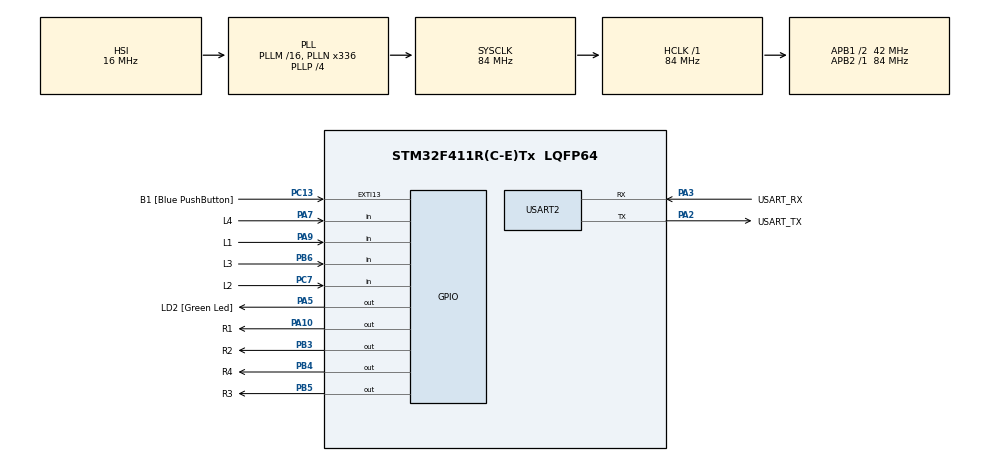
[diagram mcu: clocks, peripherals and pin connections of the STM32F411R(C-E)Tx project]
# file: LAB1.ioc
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Mcu.Family=STM32F4
Mcu.Name=STM32F411R(C-E)Tx
Mcu.Package=LQFP64
NVIC.PriorityGroup=NVIC_PRIORITYGROUP_0
PA10.GPIO_Label=R1
PA10.GPIO_ModeDefaultOutputPP=GPIO_MODE_OUTPUT_OD
PA10.GPIO_PuPd=GPIO_NOPULL
PA10.PinState=GPIO_PIN_SET
PA10.Signal=GPIO_Output
PA13.GPIO_Label=TMS
PA13.Mode=Serial_Wire
PA13.Signal=SYS_JTMS-SWDIO
PA14.GPIO_Label=TCK
PA14.Mode=Serial_Wire
PA14.Signal=SYS_JTCK-SWCLK
PA2.GPIO_Label=USART_TX
PA2.Mode=Asynchronous
PA2.Signal=USART2_TX
PA3.GPIO_Label=USART_RX
PA3.Mode=Asynchronous
PA3.Signal=USART2_RX
PA5.GPIO_Label=LD2 [Green Led]
PA5.GPIO_ModeDefaultOutputPP=GPIO_MODE_OUTPUT_PP
PA5.GPIO_PuPd=GPIO_NOPULL
PA5.Signal=GPIO_Output
PA7.GPIO_Label=L4
PA7.GPIO_PuPd=GPIO_PULLUP
PA7.Signal=GPIO_Input
PA9.GPIO_Label=L1
PA9.GPIO_PuPd=GPIO_PULLUP
PA9.Signal=GPIO_Input
PB3.GPIO_Label=R2
PB3.GPIO_ModeDefaultOutputPP=GPIO_MODE_OUTPUT_OD
PB3.GPIO_PuPd=GPIO_NOPULL
PB3.PinState=GPIO_PIN_SET
PB3.Signal=GPIO_Output
PB4.GPIO_Label=R4
PB4.GPIO_ModeDefaultOutputPP=GPIO_MODE_OUTPUT_OD
PB4.GPIO_PuPd=GPIO_NOPULL
PB4.PinState=GPIO_PIN_SET
PB4.Signal=GPIO_Output
PB5.GPIO_Label=R3
PB5.GPIO_ModeDefaultOutputPP=GPIO_MODE_OUTPUT_OD
PB5.GPIO_PuPd=GPIO_NOPULL
PB5.PinState=GPIO_PIN_SET
PB5.Signal=GPIO_Output
PB6.GPIO_Label=L3
PB6.GPIO_PuPd=GPIO_PULLUP
PB6.Signal=GPIO_Input
PC13-ANTI_TAMP.GPIO_Label=B1 [Blue PushButton]
PC13-ANTI_TAMP.GPIO_ModeDefaultEXTI=GPIO_MODE_IT_FALLING
PC13-ANTI_TAMP.Signal=GPXTI13
PC14-OSC32_IN.Mode=LSE-External-Oscillator
PC14-OSC32_IN.Signal=RCC_OSC32_IN
PC15-OSC32_OUT.Mode=LSE-External-Oscillator
PC15-OSC32_OUT.Signal=RCC_OSC32_OUT
PC7.GPIO_Label=L2
PC7.GPIO_PuPd=GPIO_PULLUP
PC7.Signal=GPIO_Input
PH0\ -\ OSC_IN.Mode=HSE-External-Clock-Source
PH0\ -\ OSC_IN.Signal=RCC_OSC_IN
PH1\ -\ OSC_OUT.Mode=HSE-External-Clock-Source
PH1\ -\ OSC_OUT.Signal=RCC_OSC_OUT
ProjectManager.HeapSize=0x200
ProjectManager.StackSize=0x400
ProjectManager.TargetToolchain=STM32CubeIDE
RCC.48MHZClocksFreq_Value=84000000
RCC.AHBFreq_Value=84000000
RCC.APB1CLKDivider=RCC_HCLK_DIV2
RCC.APB1Freq_Value=42000000
RCC.APB1TimFreq_Value=84000000
RCC.APB2Freq_Value=84000000
RCC.APB2TimFreq_Value=84000000
RCC.CortexFreq_Value=84000000
RCC.FLatency-AdvancedSettings=FLASH_LATENCY_2
RCC.HCLKFreq_Value=84000000
RCC.HSE_VALUE=8000000
RCC.HSI_VALUE=16000000
RCC.PLLN=336
RCC.PLLP=RCC_PLLP_DIV4
RCC.SYSCLKFreq_VALUE=84000000
RCC.SYSCLKSource=RCC_SYSCLKSOURCE_PLLCLK
RCC.VCOOutputFreq_Value=336000000
USART2.VirtualMode=VM_ASYNC
board=NUCLEO-F411RE

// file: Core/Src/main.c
/* USER CODE BEGIN Header */
/**
  ******************************************************************************
  * @file           : main.c
  * @brief          : Main program body
  ******************************************************************************
  * @attention
  *
  * Copyright (c) 2023 STMicroelectronics.
  * All rights reserved.
  *
  * This software is licensed under terms that can be found in the LICENSE file
  * in the root directory of this software component.
  * If no LICENSE file comes with this software, it is provided AS-IS.
  *
  ******************************************************************************
  */
/* USER CODE END Header */
#include "main.h"

/* USER CODE BEGIN Includes */
//จินตนา
/* USER CODE END Includes */

UART_HandleTypeDef huart2;

/* USER CODE BEGIN PV */

//create structure of Portpin , Typedef it to type name PortPin
typedef struct _PortPin
{
	GPIO_TypeDef* PORT;
	uint16_t PIN;
}PortPin;

//declare Portpin R,L
PortPin R[4] = { { GPIOA, GPIO_PIN_10 }, { GPIOB, GPIO_PIN_3 }, { GPIOB,
GPIO_PIN_5 }, { GPIOB, GPIO_PIN_4 } };

PortPin L[4] = { { GPIOA, GPIO_PIN_9 }, { GPIOC, GPIO_PIN_7 }, { GPIOB,
GPIO_PIN_6 }, { GPIOA, GPIO_PIN_7 } };

//for button Contenter
uint16_t ButtonMatrix = 0;
uint16_t LastButtonMatrix = 0;
int state , laststate;
int Numpad = 0;
int check;
int i;
/* USER CODE END PV */

void SystemClock_Config(void);
static void MX_GPIO_Init(void);
static void MX_USART2_UART_Init(void);
/* USER CODE BEGIN PFP */
void ReadMatrixButton_1Row();
/* USER CODE END PFP */

int main(void)
{

  /* MCU Configuration--------------------------------------------------------*/

  /* Reset of all peripherals, Initializes the Flash interface and the Systick. */
  HAL_Init();

  /* Configure the system clock */
  SystemClock_Config();

  /* Initialize all configured peripherals */
  MX_GPIO_Init();
  MX_USART2_UART_Init();

  /* Infinite loop */
  while (1)
  {

    /* USER CODE BEGIN 3 */

	  //call function every 10 ms == 100hz
	  static uint32_t timestamp = 0;
	  if(HAL_GetTick()>= timestamp)
	  {
		  timestamp = HAL_GetTick()+50;
		  ReadMatrixButton_1Row();

			if (ButtonMatrix > LastButtonMatrix)
			{check = 1;}
			else
			{check = 0;}
			LastButtonMatrix = ButtonMatrix;

			switch (state) {
			case 0:
				laststate = state;
				if (check == 1) {
					if (ButtonMatrix == 512) {
						state = 1;
					} else if (ButtonMatrix == 8192) {
						state = 0;
					} else if (ButtonMatrix == 4096) {
						state = 0;
					}

					else {
						state = 13;
					}
				}
				break;

			case 1:
				laststate = state;
				if (check == 1) {
					if (ButtonMatrix == 2) {
						state = 2;
					} else if (ButtonMatrix == 8192) {
						state = 0;
					} else {
						state = 13;
					}
				}
				break;

			case 2:
				laststate = state;
				if (check == 1) {
					if (ButtonMatrix == 256) {
						state = 3;
					} else if (ButtonMatrix == 8192) {
						state = 1;
					} else {
						state = 13;
					}
				}
				break;

			case 3:
				laststate = state;
				if (check == 1) {
					if (ButtonMatrix == 2) {
						state = 4;
					} else if (ButtonMatrix == 8192) {
						state = 2;
					} else {
						state = 13;
					}
				}
				break;

			case 4:
				laststate = state;
				if (check == 1) {
					if (ButtonMatrix == 8) {
						state = 5;
					} else if (ButtonMatrix == 8192) {
						state = 3;
					} else {
						state = 13;
					}
				}
				break;

			case 5:
				laststate = state;
				if (check == 1) {
					if (ButtonMatrix == 32) {
						state = 6;
					} else if (ButtonMatrix == 8192) {
						state = 4;
					} else {
						state = 13;
					}
				}
				break;

			case 6:
				laststate = state;
				if (check == 1) {
					if (ButtonMatrix == 8) {
						state = 7;
					} else if (ButtonMatrix == 8192) {
						state = 5;
					} else {
						state = 13;
					}
				}
				break;

			case 7:
				laststate = state;
				if (check == 1) {
					if (ButtonMatrix == 8) {
						state = 8;
					} else if (ButtonMatrix == 8192) {
						state = 6;
					} else {
						state = 13;
					}
				}
				break;

			case 8:
				laststate = state;
				if (check == 1) {
					if (ButtonMatrix == 8) {
						state = 9;
					} else if (ButtonMatrix == 8192) {
						state = 7;
					} else {
						state = 13;
					}
				}
				break;

			case 9:
				laststate = state;
				if (check == 1) {
					if (ButtonMatrix == 8) {
						state = 10;
					} else if (ButtonMatrix == 8192) {
						state = 8;
					} else {
						state = 13;
					}
				}
				break;

			case 10:
				laststate = state;
				if (check == 1) {
					if (ButtonMatrix == 64) {
						state = 11;
					} else if (ButtonMatrix == 8192) {
						state = 9;
					} else {
						state = 13;
					}
				}
				break;

			case 11:
				laststate = state;
				if (check == 1) {
					if (ButtonMatrix == 32768) {
						state = 12;
					} else if (ButtonMatrix == 8192) {
						state = 10;
					} else {
						state = 13;
					}
				}
				break;

			case 12: //ไฟติด
				laststate = state;
				//send logic form button1 to LD2
				HAL_GPIO_WritePin(GPIOA, GPIO_PIN_5, 1);
				if (check == 1) {
					if (ButtonMatrix == 4096) {
						HAL_GPIO_WritePin(GPIOA, GPIO_PIN_5, 0);
						state = 0;
					}
				}
				break;

			case 13: //กดผิด
				if (check == 1) {
					if (ButtonMatrix == 4096) {
						state = 0;
					} else if (ButtonMatrix == 8192) {
						if (i == 0) {
							state = laststate;
						} else {
							i = i - 1;
						}
					} else {
						i++;
					}
				}
				break;

			}
		}

	  switch(ButtonMatrix)
	  {
		case 1:
			Numpad = 1;
			break;
		case 16:
			Numpad = 2;
			break;
		case 256:
			Numpad = 3;
			break;

		case 2:
			Numpad = 4;
			break;
		case 32:
			Numpad = 5;
			break;
		case 512:
			Numpad = 6;
			break;

		case 4:
			Numpad = 7;
			break;
		case 64:
			Numpad = 8;
			break;
		case 1024:
			Numpad = 9;
			break;

		case 8:
			Numpad = 0;
			break;
		case 4096:
			Numpad = 11;
			break;
		case 32768:
			Numpad = 12;
			break;
	  }

  /* USER CODE END 3 */
}
}

void SystemClock_Config(void)
{
  RCC_OscInitTypeDef RCC_OscInitStruct = {0};
  RCC_ClkInitTypeDef RCC_ClkInitStruct = {0};

  /** Configure the main internal regulator output voltage
  */
  __HAL_RCC_PWR_CLK_ENABLE();
  __HAL_PWR_VOLTAGESCALING_CONFIG(PWR_REGULATOR_VOLTAGE_SCALE1);

  /** Initializes the RCC Oscillators according to the specified parameters
  * in the RCC_OscInitTypeDef structure.
  */
  RCC_OscInitStruct.OscillatorType = RCC_OSCILLATORTYPE_HSI;
  RCC_OscInitStruct.HSIState = RCC_HSI_ON;
  RCC_OscInitStruct.HSICalibrationValue = RCC_HSICALIBRATION_DEFAULT;
  RCC_OscInitStruct.PLL.PLLState = RCC_PLL_ON;
  RCC_OscInitStruct.PLL.PLLSource = RCC_PLLSOURCE_HSI;
  RCC_OscInitStruct.PLL.PLLM = 16;
  RCC_OscInitStruct.PLL.PLLN = 336;
  RCC_OscInitStruct.PLL.PLLP = RCC_PLLP_DIV4;
  RCC_OscInitStruct.PLL.PLLQ = 4;
  if (HAL_RCC_OscConfig(&RCC_OscInitStruct) != HAL_OK)
  {
    Error_Handler();
  }

  /** Initializes the CPU, AHB and APB buses clocks
  */
  RCC_ClkInitStruct.ClockType = RCC_CLOCKTYPE_HCLK|RCC_CLOCKTYPE_SYSCLK
                              |RCC_CLOCKTYPE_PCLK1|RCC_CLOCKTYPE_PCLK2;
  RCC_ClkInitStruct.SYSCLKSource = RCC_SYSCLKSOURCE_PLLCLK;
  RCC_ClkInitStruct.AHBCLKDivider = RCC_SYSCLK_DIV1;
  RCC_ClkInitStruct.APB1CLKDivider = RCC_HCLK_DIV2;
  RCC_ClkInitStruct.APB2CLKDivider = RCC_HCLK_DIV1;

  if (HAL_RCC_ClockConfig(&RCC_ClkInitStruct, FLASH_LATENCY_2) != HAL_OK)
  {
    Error_Handler();
  }
}

static void MX_USART2_UART_Init(void)
{

  huart2.Instance = USART2;
  huart2.Init.BaudRate = 115200;
  huart2.Init.WordLength = UART_WORDLENGTH_8B;
  huart2.Init.StopBits = UART_STOPBITS_1;
  huart2.Init.Parity = UART_PARITY_NONE;
  huart2.Init.Mode = UART_MODE_TX_RX;
  huart2.Init.HwFlowCtl = UART_HWCONTROL_NONE;
  huart2.Init.OverSampling = UART_OVERSAMPLING_16;
  if (HAL_UART_Init(&huart2) != HAL_OK)
  {
    Error_Handler();
  }

}

static void MX_GPIO_Init(void)
{
  GPIO_InitTypeDef GPIO_InitStruct = {0};

  /* GPIO Ports Clock Enable */
  __HAL_RCC_GPIOC_CLK_ENABLE();
  __HAL_RCC_GPIOH_CLK_ENABLE();
  __HAL_RCC_GPIOA_CLK_ENABLE();
  __HAL_RCC_GPIOB_CLK_ENABLE();

  /*Configure GPIO pin Output Level */
  HAL_GPIO_WritePin(LD2_GPIO_Port, LD2_Pin, GPIO_PIN_RESET);

  /*Configure GPIO pin Output Level */
  HAL_GPIO_WritePin(R1_GPIO_Port, R1_Pin, GPIO_PIN_SET);

  /*Configure GPIO pin Output Level */
  HAL_GPIO_WritePin(GPIOB, R2_Pin|R4_Pin|R3_Pin, GPIO_PIN_SET);

  /*Configure GPIO pin : B1_Pin */
  GPIO_InitStruct.Pin = B1_Pin;
  GPIO_InitStruct.Mode = GPIO_MODE_IT_FALLING;
  GPIO_InitStruct.Pull = GPIO_NOPULL;
  HAL_GPIO_Init(B1_GPIO_Port, &GPIO_InitStruct);

  /*Configure GPIO pin : LD2_Pin */
  GPIO_InitStruct.Pin = LD2_Pin;
  GPIO_InitStruct.Mode = GPIO_MODE_OUTPUT_PP;
  GPIO_InitStruct.Pull = GPIO_NOPULL;
  GPIO_InitStruct.Speed = GPIO_SPEED_FREQ_LOW;
  HAL_GPIO_Init(LD2_GPIO_Port, &GPIO_InitStruct);

  /*Configure GPIO pins : L4_Pin L1_Pin */
  GPIO_InitStruct.Pin = L4_Pin|L1_Pin;
  GPIO_InitStruct.Mode = GPIO_MODE_INPUT;
  GPIO_InitStruct.Pull = GPIO_PULLUP;
  HAL_GPIO_Init(GPIOA, &GPIO_InitStruct);

  /*Configure GPIO pin : L2_Pin */
  GPIO_InitStruct.Pin = L2_Pin;
  GPIO_InitStruct.Mode = GPIO_MODE_INPUT;
  GPIO_InitStruct.Pull = GPIO_PULLUP;
  HAL_GPIO_Init(L2_GPIO_Port, &GPIO_InitStruct);

  /*Configure GPIO pin : R1_Pin */
  GPIO_InitStruct.Pin = R1_Pin;
  GPIO_InitStruct.Mode = GPIO_MODE_OUTPUT_OD;
  GPIO_InitStruct.Pull = GPIO_NOPULL;
  GPIO_InitStruct.Speed = GPIO_SPEED_FREQ_LOW;
  HAL_GPIO_Init(R1_GPIO_Port, &GPIO_InitStruct);

  /*Configure GPIO pins : R2_Pin R4_Pin R3_Pin */
  GPIO_InitStruct.Pin = R2_Pin|R4_Pin|R3_Pin;
  GPIO_InitStruct.Mode = GPIO_MODE_OUTPUT_OD;
  GPIO_InitStruct.Pull = GPIO_NOPULL;
  GPIO_InitStruct.Speed = GPIO_SPEED_FREQ_LOW;
  HAL_GPIO_Init(GPIOB, &GPIO_InitStruct);

  /*Configure GPIO pin : L3_Pin */
  GPIO_InitStruct.Pin = L3_Pin;
  GPIO_InitStruct.Mode = GPIO_MODE_INPUT;
  GPIO_InitStruct.Pull = GPIO_PULLUP;
  HAL_GPIO_Init(L3_GPIO_Port, &GPIO_InitStruct);

}

/* USER CODE BEGIN 4 */
void ReadMatrixButton_1Row() {
    static uint8_t X = 0;
    register int i;
    for (i = 0; i < 4; i++) {
        if (HAL_GPIO_ReadPin(L[i].PORT, L[i].PIN)) {
            ButtonMatrix &= ~(1 << (X * 4 + i));
        } else {
            ButtonMatrix |= 1 << (X * 4 + i);
        }
    }
    HAL_GPIO_WritePin(R[X].PORT, R[X].PIN, 1);
    HAL_GPIO_WritePin(R[(X + 1) % 4].PORT, R[(X + 1) % 4].PIN, 0);
    X++;
    X %= 4;
}

/* USER CODE END 4 */

void Error_Handler(void)
{
  __disable_irq();
  while (1)
  {
  }
}
